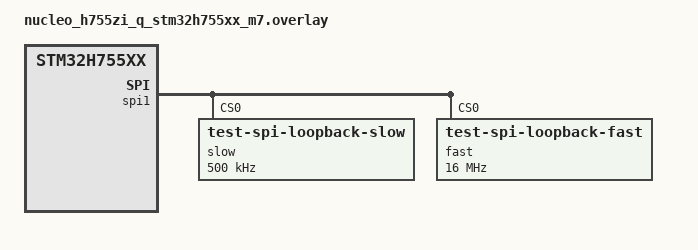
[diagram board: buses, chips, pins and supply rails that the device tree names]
/*
 * Copyright The Zephyr Project Contributors
 *
 * SPDX-License-Identifier: Apache-2.0
 */

/* Set div-q to get test clk freq into acceptable SPI freq range */
&pll {
	div-q = <8>;
};

&sram2 {
	zephyr,memory-attr = <DT_MEM_ARM(ATTR_MPU_RAM_NOCACHE)>;
};

&spi1 {
	status = "okay";
	dmas = <&dmamux1 0 38 (STM32_DMA_PERIPH_TX | STM32_DMA_PRIORITY_HIGH)>,
	       <&dmamux1 1 37 (STM32_DMA_PERIPH_RX | STM32_DMA_PRIORITY_HIGH)>;
	dma-names = "tx", "rx";
	st,fifo-threshold = <8>;

	slow@0 {
		compatible = "test-spi-loopback-slow";
		reg = <0>;
		spi-max-frequency = <DT_FREQ_K(500)>;
	};

	fast@0 {
		compatible = "test-spi-loopback-fast";
		reg = <0>;
		spi-max-frequency = <DT_FREQ_M(16)>;
	};
};

&dma1 {
	status = "okay";
};

&dma2 {
	status = "okay";
};

&dmamux1 {
	status = "okay";
};
